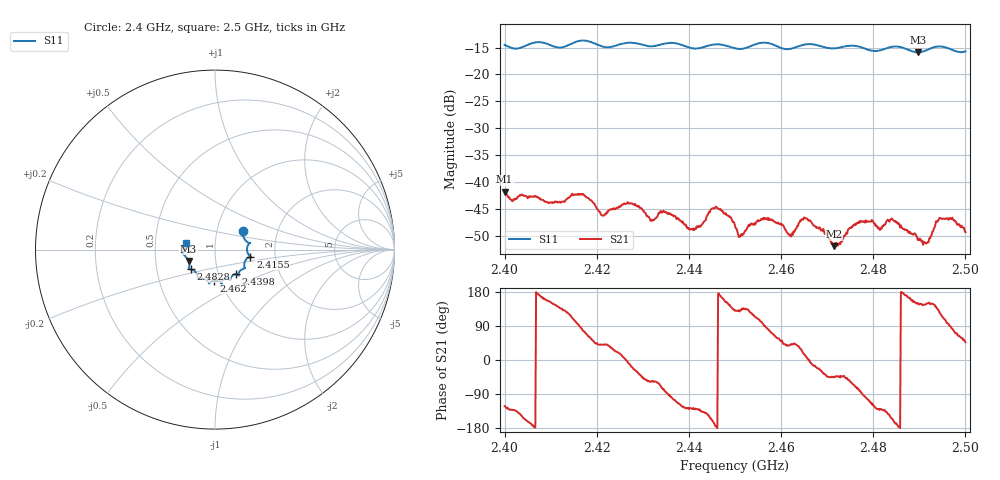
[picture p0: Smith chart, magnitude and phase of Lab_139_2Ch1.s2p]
# Hz S RI R 50
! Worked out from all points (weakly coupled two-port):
!   601 points, 2.4 GHz to 2.5 GHz, reference 50 ohm
!   highest |S21| = -41.80 dB at 2.4 GHz (marker M1); lowest = -51.9 dB at 2.4715 GHz (marker M2)
!   lowest |S11| = -15.9 dB at 2.4897 GHz (marker M3), VSWR 1.38, Z = 36.9 - j4.83 ohm
!   |S11| at or under -10 dB: start of sweep to end of sweep
!   S12 and S22 are empty: the file has one direction only
!   S11 on the Smith chart (normalised r, x): 2.4 GHz: 1.33, +0.29; 2.4155 GHz: 1.49, -0.12; 2.4398 GHz: 1.21, -0.34; 2.462 GHz: 0.93, -0.33; 2.4828 GHz: 0.74, -0.17; 2.5 GHz: 0.72, +0.06
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2.4e9  0.1555 0.1064  -0.00429 -0.0069  0 0  0 0
2.41e9  0.1851 0.0266  -0.00573 0.00296  0 0  0 0
2.4155e9  0.1974 -0.0395  -0.0013 0.00751  0 0  0 0
2.416667e9  0.2022 -0.0428  0.000825 0.0077  0 0  0 0
2.421333e9  0.1723 -0.0561  0.00372 0.00317  0 0  0 0
2.427167e9  0.1685 -0.1027  0.0062 -0.00129  0 0  0 0
2.433333e9  0.131 -0.1335  0.00248 -0.00436  0 0  0 0
2.439833e9  0.1157 -0.1363  -0.00217 -0.00298  0 0  0 0
2.445667e9  0.0844 -0.1704  -0.00568 -0.000718  0 0  0 0
2.45e9  0.0653 -0.1625  -0.00252 0.00303  0 0  0 0
2.451333e9  0.0505 -0.1652  -0.00217 0.00245  0 0  0 0
2.457e9  0.0393 -0.1925  0.000515 0.00444  0 0  0 0
2.462e9  -0.00522 -0.1729  0.00238 0.00206  0 0  0 0
2.466667e9  -0.0343 -0.1881  0.0041 -0.000781  0 0  0 0
2.4715e9  -0.0639 -0.1625  0.0018 -0.00179  0 0  0 0
2.476833e9  -0.0959 -0.1544  0.000962 -0.00416  0 0  0 0
2.482833e9  -0.1364 -0.1092  -0.00313 -0.00292  0 0  0 0
2.483333e9  -0.1402 -0.1091  -0.00355 -0.00262  0 0  0 0
2.489667e9  -0.1471 -0.0637  -0.00252 0.00143  0 0  0 0
2.491833e9  -0.1662 -0.0359  -0.00237 0.00141  0 0  0 0
2.494833e9  -0.1806 -0.0202  -0.00209 0.00402  0 0  0 0
2.5e9  -0.1592 0.039  0.00232 0.00251  0 0  0 0
